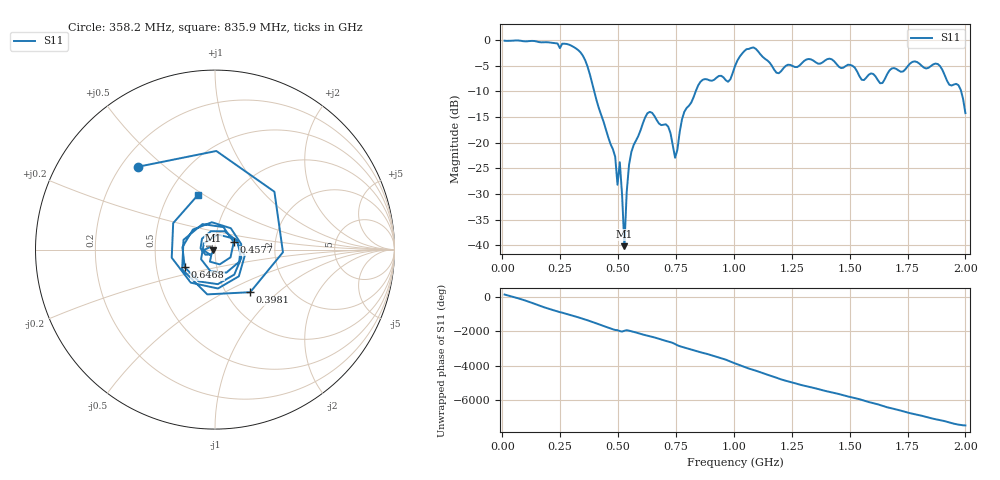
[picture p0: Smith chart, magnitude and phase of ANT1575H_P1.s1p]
!Created with skrf (http://scikit-rf.org).
# Hz S RI R 50.0
!freq ReS11 ImS11
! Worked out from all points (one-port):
!   201 points, 10 MHz to 2 GHz, reference 50 ohm
!   lowest |S11| = -40.2 dB at 527.4 MHz (marker M1), VSWR 1.02, Z = 49.1 - j0.374 ohm
!   |S11| at or under -10 dB: 396.8 MHz to 835.4 MHz (438.7 MHz wide, 71.2 % of centre); 1.982 GHz to end of sweep
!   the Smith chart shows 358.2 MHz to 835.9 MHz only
!   S11 on the Smith chart (normalised r, x): 358.2 MHz: 0.27, +0.41; 398.1 MHz: 1.29, -0.68; 457.8 MHz: 1.23, +0.10; 646.8 MHz: 0.70, -0.14; 835.9 MHz: 0.70, +0.47
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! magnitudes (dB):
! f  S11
! 10 MHz  -0.2
! 258.8 MHz  -0.8
! 358.2 MHz  -4.0
! 398.1 MHz  -10.2
! 457.8 MHz  -19.0
! 487.6 MHz  -22.7
! 497.6 MHz  -28.2
! 507.5 MHz  -23.8
! 527.4 MHz  -40.2
! 537.4 MHz  -29.6
! 557.2 MHz  -21.9
! 646.8 MHz  -14.2
! 716.5 MHz  -16.9
! 746.3 MHz  -22.9
! 756.2 MHz  -21.4
! 786.1 MHz  -14.0
! 835.9 MHz  -9.9
! 975.1 MHz  -8.2
! 1.005 GHz  -5.1
! 1.085 GHz  -1.5
! 1.184 GHz  -6.4
! 1.254 GHz  -5.1
! 1.502 GHz  -4.9
! 1.632 GHz  -8.4
! 1.751 GHz  -5.1
! 1.881 GHz  -4.7
! 1.97 GHz  -8.8
! 2 GHz  -14.3
